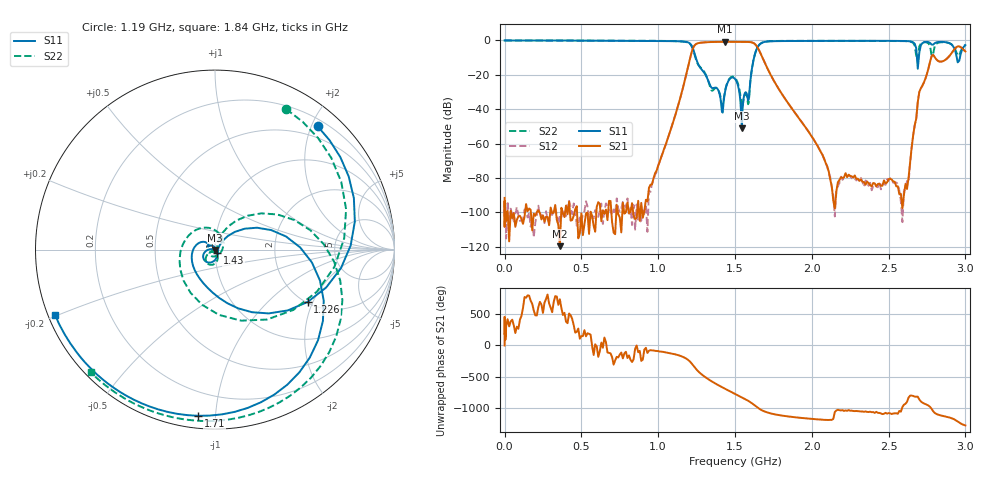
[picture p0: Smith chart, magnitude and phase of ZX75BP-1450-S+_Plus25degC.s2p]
! Mini-Circuits
! S2P DATA File Format
! Type: BAND PASS FILTER
! Model: ZX75BP-1450-S+
! All S Parameters are in dB deg format
! TEST CONDITIONS: INPUT POWER = 0 dBm @ Temperature = +25deg C
# MHz S dB R 50
!Frequency  S11 dB  S11 DEG  S21 dB  S21 DEG  S12 dB  S12 DEG  S22 dB  S22 DEG
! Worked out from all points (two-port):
!   393 points, 300 kHz to 3 GHz, reference 50 ohm
!   highest |S21| = -0.78 dB at 1.435 GHz (marker M1); lowest = -119.6 dB at 360 MHz (marker M2)
!   |S21| within 3 dB of the highest: 1.231 GHz to 1.645 GHz (414.2 MHz wide, 28.8 % of centre); 2.944 GHz to 2.967 GHz (22.92 MHz wide, 0.776 % of centre)
!   lowest |S11| = -51.2 dB at 1.545 GHz (marker M3), VSWR 1.01, Z = 50.2 - j0.222 ohm
!   |S11| at or under -10 dB: 1.245 GHz to 1.624 GHz (378.9 MHz wide, 26.4 % of centre); 2.684629 GHz to 2.696908 GHz (12.28 MHz wide, 0.456 % of centre); 2.944 GHz to 2.964 GHz (20.31 MHz wide, 0.688 % of centre)
!   |S22| runs from -39.0 to 0.0 dB; largest |S21 - S12| = 0.0025
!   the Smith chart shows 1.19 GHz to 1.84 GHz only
!   S11 on the Smith chart (normalised r, x): 1.19 GHz: 0.31, +2.10; 1.226 GHz: 2.03, -1.83; 1.43 GHz: 1.03, -0.04; 1.71 GHz: 0.07, -0.90; 1.84 GHz: 0.02, -0.20
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0.3  -0.00 -0.1  -91.56 -0.9  -97.24 -106.8  0.00 -0.0
360  -0.04 -55.4  -119.64 19.2  -101.82 -122.8  -0.02 -50.1
510  -0.08 -79.8  -113.21 149.6  -100.97 -139.7  -0.04 -72.3
1010  -0.28 171.3  -70.52 -96.7  -70.56 -94.7  -0.23 -173.7
1190  -0.97 50.2  -17.00 137.9  -17.03 138.0  -1.14 63.1
1226  -4.54 -29.4  -4.69 46.3  -4.68 46.4  -5.18 -37.6
1274  -15.89 -134.8  -1.34 -84.2  -1.34 -84.3  -15.55 152.3
1330  -24.31 140.7  -0.95 174.3  -0.95 174.3  -24.72 37.6
1430  -32.88 -54.0  -0.78 34.0  -0.78 34.0  -32.04 -69.5
1435  -30.05 -64.9  -0.78 27.6  -0.78 27.6  -29.50 -67.8
1505  -22.99 -156.3  -0.79 -59.3  -0.79 -59.3  -22.29 -132.4
1545  -51.15 -53.1  -0.79 -109.8  -0.79 -109.9  -39.04 -109.8
1630  -7.91 10.5  -2.10 118.8  -2.11 118.9  -7.98 29.4
1710  -0.62 -95.7  -16.03 8.4  -16.00 8.5  -0.56 -75.2
1840  -0.33 -157.7  -35.74 -54.1  -35.71 -54.3  -0.24 -135.3
2010  -0.28 158.2  -57.24 -97.1  -57.24 -97.3  -0.22 -177.4
2120  -0.26 136.0  -80.83 -110.3  -79.40 -111.5  -0.21 161.8
2510  -0.23 68.0  -80.43 -6.2  -80.12 -9.6  -0.27 98.3
2630  -0.43 38.8  -79.73 -113.8  -82.67 -114.3  -0.54 70.1
2700  -7.12 114.6  -29.89 -143.8  -29.92 -143.9  -3.49 116.3
2780  -2.40 35.9  -9.12 66.0  -9.13 66.0  -8.69 45.0
3000  -2.72 42.3  -6.40 160.0  -6.44 160.0  -2.51 73.6
